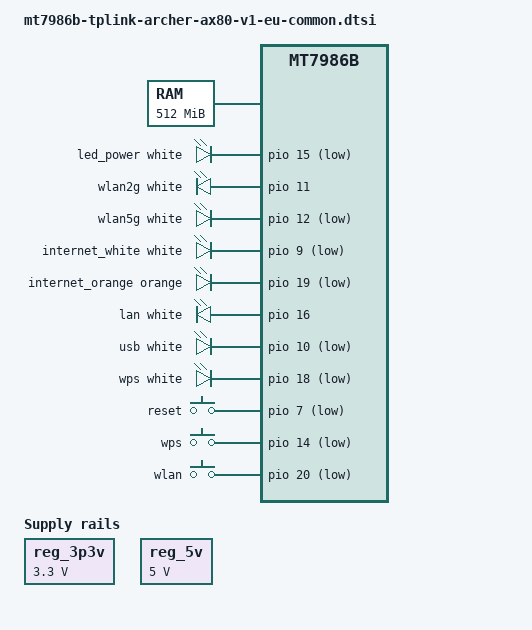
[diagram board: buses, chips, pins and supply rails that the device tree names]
// SPDX-License-Identifier: GPL-2.0-or-later OR MIT

#include <dt-bindings/gpio/gpio.h>
#include <dt-bindings/input/input.h>
#include <dt-bindings/leds/common.h>
#include <dt-bindings/pinctrl/mt65xx.h>

#include "mt7986b.dtsi"

/ {
	aliases {
		serial0 = &uart0;
		led-boot = &led_power;
		led-failsafe = &led_power;
		led-running = &led_power;
		led-upgrade = &led_power;
	};

	chosen {
		stdout-path = "serial0:115200n8";
	};

	memory@40000000 {
		reg = <0 0x40000000 0 0x20000000>;
		device_type = "memory";
	};

	leds {
		compatible = "gpio-leds";

		led_power: power {
			color = <LED_COLOR_ID_WHITE>;
			function = LED_FUNCTION_POWER;
			gpios = <&pio 15 GPIO_ACTIVE_LOW>;
			default-state = "on";
		};

		wlan2g {
			color = <LED_COLOR_ID_WHITE>;
			function = LED_FUNCTION_WLAN_2GHZ;
			gpios = <&pio 11 GPIO_ACTIVE_HIGH>;
			linux,default-trigger = "phy0tpt";
		};

		wlan5g {
			color = <LED_COLOR_ID_WHITE>;
			function = LED_FUNCTION_WLAN_5GHZ;
			gpios = <&pio 12 GPIO_ACTIVE_LOW>;
			linux,default-trigger = "phy1tpt";
		};

		internet_white {
			color = <LED_COLOR_ID_WHITE>;
			function = LED_FUNCTION_WAN_ONLINE;
			gpios = <&pio 9 GPIO_ACTIVE_LOW>;
		};

		internet_orange {
			color = <LED_COLOR_ID_ORANGE>;
			function = LED_FUNCTION_WAN;
			gpios = <&pio 19 GPIO_ACTIVE_LOW>;
		};

		lan {
			color = <LED_COLOR_ID_WHITE>;
			function = LED_FUNCTION_LAN;
			gpios = <&pio 16 GPIO_ACTIVE_HIGH>;
		};

		usb {
			color = <LED_COLOR_ID_WHITE>;
			function = LED_FUNCTION_DISK;
			gpios = <&pio 10 GPIO_ACTIVE_LOW>;
			trigger-sources = <&ssusb>;
			linux,default-trigger = "usbport";
		};

		wps {
			color = <LED_COLOR_ID_WHITE>;
			function = LED_FUNCTION_WPS;
			gpios = <&pio 18 GPIO_ACTIVE_LOW>;
		};
	};

	keys {
		compatible = "gpio-keys";

		reset {
			label = "reset";
			linux,code = <KEY_RESTART>;
			gpios = <&pio 7 GPIO_ACTIVE_LOW>;
		};

		wps {
			label = "wps";
			linux,code = <KEY_WPS_BUTTON>;
			gpios = <&pio 14 GPIO_ACTIVE_LOW>;
		};

		wifi {
			label = "wlan";
			linux,code = <KEY_WLAN>;
			gpios = <&pio 20 GPIO_ACTIVE_LOW>;
		};
	};

	reg_3p3v: regulator-3p3v {
		compatible = "regulator-fixed";
		regulator-name = "fixed-3.3V";
		regulator-min-microvolt = <3300000>;
		regulator-max-microvolt = <3300000>;
		regulator-boot-on;
		regulator-always-on;
	};

	reg_5v: regulator-5v {
		compatible = "regulator-fixed";
		regulator-name = "fixed-5V";
		regulator-min-microvolt = <5000000>;
		regulator-max-microvolt = <5000000>;
		regulator-boot-on;
		regulator-always-on;
	};
};
